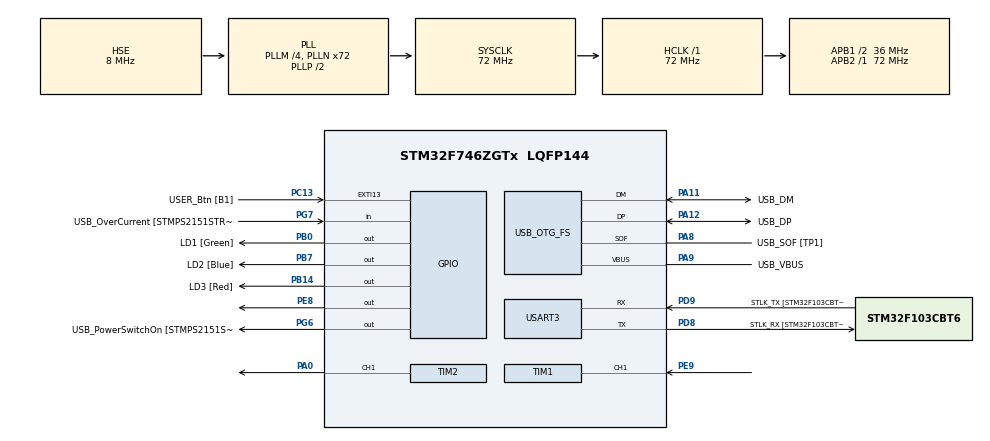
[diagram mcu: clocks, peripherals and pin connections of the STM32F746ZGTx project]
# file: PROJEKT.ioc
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Mcu.Family=STM32F7
Mcu.Name=STM32F746ZGTx
Mcu.Package=LQFP144
NVIC.PriorityGroup=NVIC_PRIORITYGROUP_4
NVIC.TIM1_CC_IRQn=true\:0\:0\:false\:false\:true\:true\:true\:true
PA0/WKUP.Signal=S_TIM2_CH1_ETR
PA1.GPIO_Label=RMII_REF_CLK [LAN8742A-CZ-TR_REFCLK0]
PA1.Signal=ETH_REF_CLK
PA10.GPIO_Label=USB_ID
PA10.Signal=USB_OTG_FS_ID
PA11.GPIO_Label=USB_DM
PA11.Mode=Device_Only
PA11.Signal=USB_OTG_FS_DM
PA12.GPIO_Label=USB_DP
PA12.Mode=Device_Only
PA12.Signal=USB_OTG_FS_DP
PA13.GPIO_Label=TMS
PA13.Mode=Serial_Wire
PA13.Signal=SYS_JTMS-SWDIO
PA14.GPIO_Label=TCK
PA14.Mode=Serial_Wire
PA14.Signal=SYS_JTCK-SWCLK
PA2.GPIO_Label=RMII_MDIO [LAN8742A-CZ-TR_MDIO]
PA2.Signal=ETH_MDIO
PA7.GPIO_Label=RMII_CRS_DV [LAN8742A-CZ-TR_CRS_DV]
PA7.Signal=ETH_CRS_DV
PA8.GPIO_Label=USB_SOF [TP1]
PA8.Mode=Activate_SOF_FS
PA8.Signal=USB_OTG_FS_SOF
PA9.GPIO_Label=USB_VBUS
PA9.Mode=Activate_VBUS
PA9.Signal=USB_OTG_FS_VBUS
PB0.GPIO_Label=LD1 [Green]
PB0.Signal=GPIO_Output
PB13.GPIO_Label=RMII_TXD1 [LAN8742A-CZ-TR_TXD1]
PB13.Signal=ETH_TXD1
PB14.GPIO_Label=LD3 [Red]
PB14.Signal=GPIO_Output
PB3.GPIO_Label=SW0
PB3.Signal=SYS_JTDO-SWO
PB7.GPIO_Label=LD2 [Blue]
PB7.Signal=GPIO_Output
PC1.GPIO_Label=RMII_MDC [LAN8742A-CZ-TR_MDC]
PC1.Signal=ETH_MDC
PC13.GPIO_Label=USER_Btn [B1]
PC13.Signal=GPXTI13
PC14/OSC32_IN.Mode=LSE-External-Oscillator
PC14/OSC32_IN.Signal=RCC_OSC32_IN
PC15/OSC32_OUT.Mode=LSE-External-Oscillator
PC15/OSC32_OUT.Signal=RCC_OSC32_OUT
PC4.GPIO_Label=RMII_RXD0 [LAN8742A-CZ-TR_RXD0]
PC4.Signal=ETH_RXD0
PC5.GPIO_Label=RMII_RXD1 [LAN8742A-CZ-TR_RXD1]
PC5.Signal=ETH_RXD1
PD8.GPIO_Label=STLK_RX [STM32F103CBT6_PA3]
PD8.GPIO_PuPd=GPIO_PULLUP
PD8.Mode=Asynchronous
PD8.Signal=USART3_TX
PD9.GPIO_Label=STLK_TX [STM32F103CBT6_PA2]
PD9.GPIO_PuPd=GPIO_PULLUP
PD9.Mode=Asynchronous
PD9.Signal=USART3_RX
PE8.Signal=GPIO_Output
PE9.Signal=S_TIM1_CH1
PG11.GPIO_Label=RMII_TX_EN [LAN8742A-CZ-TR_TXEN]
PG11.Signal=ETH_TX_EN
PG13.GPIO_Label=RMII_TXD0 [LAN8742A-CZ-TR_TXD0]
PG13.Signal=ETH_TXD0
PG6.GPIO_Label=USB_PowerSwitchOn [STMPS2151STR_EN]
PG6.Signal=GPIO_Output
PG7.GPIO_Label=USB_OverCurrent [STMPS2151STR_FAULT]
PG7.Signal=GPIO_Input
PH0/OSC_IN.GPIO_Label=MCO [STM32F103CBT6_PA8]
PH0/OSC_IN.Mode=HSE-External-Clock-Source
PH0/OSC_IN.Signal=RCC_OSC_IN
PH1/OSC_OUT.Mode=HSE-External-Clock-Source
PH1/OSC_OUT.Signal=RCC_OSC_OUT
ProjectManager.HeapSize=0x200
ProjectManager.StackSize=0x400
ProjectManager.TargetToolchain=STM32CubeIDE
RCC.48MHZClocksFreq_Value=24000000
RCC.AHBFreq_Value=72000000
RCC.APB1CLKDivider=RCC_HCLK_DIV2
RCC.APB1Freq_Value=36000000
RCC.APB1TimFreq_Value=72000000
RCC.APB2Freq_Value=72000000
RCC.APB2TimFreq_Value=72000000
RCC.CortexFreq_Value=72000000
RCC.HCLKFreq_Value=72000000
RCC.HSE_VALUE=8000000
RCC.HSI_VALUE=16000000
RCC.PLLM=4
RCC.PLLMUL=RCC_PLL_MUL9
RCC.PLLN=72
RCC.PLLQ=3
RCC.PRESCALERUSB=RCC_USBCLKSOURCE_PLL_DIV1_5
RCC.SYSCLKFreq_VALUE=72000000
RCC.SYSCLKSource=RCC_SYSCLKSOURCE_PLLCLK
RCC.SYSCLKSourceVirtual=RCC_SYSCLKSOURCE_PLLCLK
RCC.USBFreq_Value=48000000
RCC.VCOOutputFreq_Value=144000000
SH.S_TIM1_CH1.0=TIM1_CH1,Input_Capture1_from_TI1
SH.S_TIM2_CH1_ETR.0=TIM2_CH1,PWM Generation1 CH1
TIM1.Channel-Input_Capture1_from_TI1=TIM_CHANNEL_1
TIM1.Period=0xffff-1
TIM1.Prescaler=72-1
TIM2.AutoReloadPreload=TIM_AUTORELOAD_PRELOAD_ENABLE
TIM2.Channel-PWM\ Generation1\ CH1=TIM_CHANNEL_1
TIM2.Period=19999
TIM2.Prescaler=71
TIM2.Pulse-PWM\ Generation1\ CH1=1500
USART3.VirtualMode-Asynchronous=VM_ASYNC
USB_OTG_FS.VirtualMode=Device_Only
VP_TIM2_VS_ClockSourceINT.Mode=Internal
board=NUCLEO-F746ZG

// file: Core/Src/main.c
/* USER CODE BEGIN Header */
/**
  ******************************************************************************
  * @file           : main.c
  * @brief          : Main program body
  ******************************************************************************
  * @attention
  *
  * Copyright (c) 2023 STMicroelectronics.
  * All rights reserved.
  *
  * This software is licensed under terms that can be found in the LICENSE file
  * in the root directory of this software component.
  * If no LICENSE file comes with this software, it is provided AS-IS.
  *
  ******************************************************************************
  */
/* USER CODE END Header */
#include "main.h"

TIM_HandleTypeDef htim1;
TIM_HandleTypeDef htim2;

UART_HandleTypeDef huart3;

PCD_HandleTypeDef hpcd_USB_OTG_FS;

void SystemClock_Config(void);
static void MX_GPIO_Init(void);
static void MX_USART3_UART_Init(void);
static void MX_USB_OTG_FS_PCD_Init(void);
static void MX_TIM1_Init(void);
static void MX_TIM2_Init(void);

/* USER CODE BEGIN 0 */

void delay(uint16_t time) {
	__HAL_TIM_SET_COUNTER(&htim1,0);
	while(__HAL_TIM_GET_COUNTER (&htim1) < time);
}

uint32_t IC_Val1 = 0;
uint32_t IC_Val2 = 0;
uint32_t Difference = 0;
uint8_t Is_First_Captured = 0;  // is the first value captured ?
float Distance  = 0;
#define TRIG_PIN GPIO_PIN_8
#define TRIG_PORT GPIOE
float yr = 7.5;
float y = 0,Ki = 0,Kp = 0.7,Td = 1/1.67, u = 0, Tp=0.1;
float e[] = {0,0};
uint16_t PWM = 0;

// Let's write the callback function

void HAL_TIM_IC_CaptureCallback(TIM_HandleTypeDef *htim)
{
	if (htim->Channel == HAL_TIM_ACTIVE_CHANNEL_1)  // if the interrupt source is channel1
	{
		if (Is_First_Captured==0) // if the first value is not captured
		{
			IC_Val1 = HAL_TIM_ReadCapturedValue(htim, TIM_CHANNEL_1); // read the first value
			Is_First_Captured = 1;  // set the first captured as true
			// Now change the polarity to falling edge
			__HAL_TIM_SET_CAPTUREPOLARITY(htim, TIM_CHANNEL_1, TIM_INPUTCHANNELPOLARITY_FALLING);
		}

		else if (Is_First_Captured==1)   // if the first is already captured
		{
			IC_Val2 = HAL_TIM_ReadCapturedValue(htim, TIM_CHANNEL_1);  // read second value
			__HAL_TIM_SET_COUNTER(htim, 0);  // reset the counter

			if (IC_Val2 > IC_Val1)
			{
				Difference = IC_Val2-IC_Val1;
			}

			else if (IC_Val1 > IC_Val2)
			{
				Difference = (0xffff - IC_Val1) + IC_Val2;
			}

			Distance = Difference * .034/2;
			if(Distance > 20){
				Distance = 0;
			}
			Is_First_Captured = 0; // set it back to false

			// set polarity to rising edge
			__HAL_TIM_SET_CAPTUREPOLARITY(htim, TIM_CHANNEL_1, TIM_INPUTCHANNELPOLARITY_RISING);
			__HAL_TIM_DISABLE_IT(&htim1, TIM_IT_CC1);
		}
	}
}

void HCSR04_Read (void)
{
	HAL_GPIO_WritePin(TRIG_PORT, TRIG_PIN, GPIO_PIN_SET);  // pull the TRIG pin HIGH
	delay(10);  // wait for 10 us
	HAL_GPIO_WritePin(TRIG_PORT, TRIG_PIN, GPIO_PIN_RESET);  // pull the TRIG pin low

	__HAL_TIM_ENABLE_IT(&htim1, TIM_IT_CC1);
}

/* USER CODE END 0 */

int main(void)
{

  /* MCU Configuration--------------------------------------------------------*/

  /* Reset of all peripherals, Initializes the Flash interface and the Systick. */
  HAL_Init();

  /* Configure the system clock */
  SystemClock_Config();

  /* Initialize all configured peripherals */
  MX_GPIO_Init();
  MX_USART3_UART_Init();
  MX_USB_OTG_FS_PCD_Init();
  MX_TIM1_Init();
  MX_TIM2_Init();
  /* USER CODE BEGIN 2 */

  HAL_TIM_IC_Start_IT(&htim1, TIM_CHANNEL_1);
  HAL_TIM_PWM_Start(&htim2,TIM_CHANNEL_1);

  /* USER CODE END 2 */

  /* Infinite loop */
  while (1)
  {

    /* USER CODE BEGIN 3 */
	  HCSR04_Read();
	  y = Distance;
	  e[0] = yr - y;
	  u = Kp*e[0] + Td*(e[0]-e[1])/Tp + (2*ui+Ki*Tp*(e[0]+e[1]))/2;;
	  e[1] = e[0];
	  u += 90;
	  if ( u > 135) {
		  u = 135;
	  } else if(u < 45) {
		  u = 45;
	  }
	  PWM = -9*u+2500;
	  __HAL_TIM_SET_COMPARE(&htim2, TIM_CHANNEL_1,PWM);
	  HAL_Delay(10);
  }
  /* USER CODE END 3 */
}

void SystemClock_Config(void)
{
  RCC_OscInitTypeDef RCC_OscInitStruct = {0};
  RCC_ClkInitTypeDef RCC_ClkInitStruct = {0};

  /** Configure LSE Drive Capability
  */
  HAL_PWR_EnableBkUpAccess();

  /** Configure the main internal regulator output voltage
  */
  __HAL_RCC_PWR_CLK_ENABLE();
  __HAL_PWR_VOLTAGESCALING_CONFIG(PWR_REGULATOR_VOLTAGE_SCALE3);

  /** Initializes the RCC Oscillators according to the specified parameters
  * in the RCC_OscInitTypeDef structure.
  */
  RCC_OscInitStruct.OscillatorType = RCC_OSCILLATORTYPE_HSE;
  RCC_OscInitStruct.HSEState = RCC_HSE_BYPASS;
  RCC_OscInitStruct.PLL.PLLState = RCC_PLL_ON;
  RCC_OscInitStruct.PLL.PLLSource = RCC_PLLSOURCE_HSE;
  RCC_OscInitStruct.PLL.PLLM = 4;
  RCC_OscInitStruct.PLL.PLLN = 72;
  RCC_OscInitStruct.PLL.PLLP = RCC_PLLP_DIV2;
  RCC_OscInitStruct.PLL.PLLQ = 3;
  if (HAL_RCC_OscConfig(&RCC_OscInitStruct) != HAL_OK)
  {
    Error_Handler();
  }

  /** Initializes the CPU, AHB and APB buses clocks
  */
  RCC_ClkInitStruct.ClockType = RCC_CLOCKTYPE_HCLK|RCC_CLOCKTYPE_SYSCLK
                              |RCC_CLOCKTYPE_PCLK1|RCC_CLOCKTYPE_PCLK2;
  RCC_ClkInitStruct.SYSCLKSource = RCC_SYSCLKSOURCE_PLLCLK;
  RCC_ClkInitStruct.AHBCLKDivider = RCC_SYSCLK_DIV1;
  RCC_ClkInitStruct.APB1CLKDivider = RCC_HCLK_DIV2;
  RCC_ClkInitStruct.APB2CLKDivider = RCC_HCLK_DIV1;

  if (HAL_RCC_ClockConfig(&RCC_ClkInitStruct, FLASH_LATENCY_2) != HAL_OK)
  {
    Error_Handler();
  }
}

static void MX_TIM1_Init(void)
{

  TIM_MasterConfigTypeDef sMasterConfig = {0};
  TIM_IC_InitTypeDef sConfigIC = {0};

  htim1.Instance = TIM1;
  htim1.Init.Prescaler = 72-1;
  htim1.Init.CounterMode = TIM_COUNTERMODE_UP;
  htim1.Init.Period = 0xffff-1;
  htim1.Init.ClockDivision = TIM_CLOCKDIVISION_DIV1;
  htim1.Init.RepetitionCounter = 0;
  htim1.Init.AutoReloadPreload = TIM_AUTORELOAD_PRELOAD_DISABLE;
  if (HAL_TIM_IC_Init(&htim1) != HAL_OK)
  {
    Error_Handler();
  }
  sMasterConfig.MasterOutputTrigger = TIM_TRGO_RESET;
  sMasterConfig.MasterOutputTrigger2 = TIM_TRGO2_RESET;
  sMasterConfig.MasterSlaveMode = TIM_MASTERSLAVEMODE_DISABLE;
  if (HAL_TIMEx_MasterConfigSynchronization(&htim1, &sMasterConfig) != HAL_OK)
  {
    Error_Handler();
  }
  sConfigIC.ICPolarity = TIM_INPUTCHANNELPOLARITY_RISING;
  sConfigIC.ICSelection = TIM_ICSELECTION_DIRECTTI;
  sConfigIC.ICPrescaler = TIM_ICPSC_DIV1;
  sConfigIC.ICFilter = 0;
  if (HAL_TIM_IC_ConfigChannel(&htim1, &sConfigIC, TIM_CHANNEL_1) != HAL_OK)
  {
    Error_Handler();
  }

}

static void MX_TIM2_Init(void)
{

  TIM_ClockConfigTypeDef sClockSourceConfig = {0};
  TIM_MasterConfigTypeDef sMasterConfig = {0};
  TIM_OC_InitTypeDef sConfigOC = {0};

  htim2.Instance = TIM2;
  htim2.Init.Prescaler = 71;
  htim2.Init.CounterMode = TIM_COUNTERMODE_UP;
  htim2.Init.Period = 19999;
  htim2.Init.ClockDivision = TIM_CLOCKDIVISION_DIV1;
  htim2.Init.AutoReloadPreload = TIM_AUTORELOAD_PRELOAD_ENABLE;
  if (HAL_TIM_Base_Init(&htim2) != HAL_OK)
  {
    Error_Handler();
  }
  sClockSourceConfig.ClockSource = TIM_CLOCKSOURCE_INTERNAL;
  if (HAL_TIM_ConfigClockSource(&htim2, &sClockSourceConfig) != HAL_OK)
  {
    Error_Handler();
  }
  if (HAL_TIM_PWM_Init(&htim2) != HAL_OK)
  {
    Error_Handler();
  }
  sMasterConfig.MasterOutputTrigger = TIM_TRGO_RESET;
  sMasterConfig.MasterSlaveMode = TIM_MASTERSLAVEMODE_DISABLE;
  if (HAL_TIMEx_MasterConfigSynchronization(&htim2, &sMasterConfig) != HAL_OK)
  {
    Error_Handler();
  }
  sConfigOC.OCMode = TIM_OCMODE_PWM1;
  sConfigOC.Pulse = 1500;
  sConfigOC.OCPolarity = TIM_OCPOLARITY_HIGH;
  sConfigOC.OCFastMode = TIM_OCFAST_DISABLE;
  if (HAL_TIM_PWM_ConfigChannel(&htim2, &sConfigOC, TIM_CHANNEL_1) != HAL_OK)
  {
    Error_Handler();
  }
  HAL_TIM_MspPostInit(&htim2);

}

static void MX_USART3_UART_Init(void)
{

  huart3.Instance = USART3;
  huart3.Init.BaudRate = 115200;
  huart3.Init.WordLength = UART_WORDLENGTH_8B;
  huart3.Init.StopBits = UART_STOPBITS_1;
  huart3.Init.Parity = UART_PARITY_NONE;
  huart3.Init.Mode = UART_MODE_TX_RX;
  huart3.Init.HwFlowCtl = UART_HWCONTROL_NONE;
  huart3.Init.OverSampling = UART_OVERSAMPLING_16;
  huart3.Init.OneBitSampling = UART_ONE_BIT_SAMPLE_DISABLE;
  huart3.AdvancedInit.AdvFeatureInit = UART_ADVFEATURE_NO_INIT;
  if (HAL_UART_Init(&huart3) != HAL_OK)
  {
    Error_Handler();
  }

}

static void MX_USB_OTG_FS_PCD_Init(void)
{

  hpcd_USB_OTG_FS.Instance = USB_OTG_FS;
  hpcd_USB_OTG_FS.Init.dev_endpoints = 6;
  hpcd_USB_OTG_FS.Init.speed = PCD_SPEED_FULL;
  hpcd_USB_OTG_FS.Init.dma_enable = DISABLE;
  hpcd_USB_OTG_FS.Init.phy_itface = PCD_PHY_EMBEDDED;
  hpcd_USB_OTG_FS.Init.Sof_enable = ENABLE;
  hpcd_USB_OTG_FS.Init.low_power_enable = DISABLE;
  hpcd_USB_OTG_FS.Init.lpm_enable = DISABLE;
  hpcd_USB_OTG_FS.Init.vbus_sensing_enable = ENABLE;
  hpcd_USB_OTG_FS.Init.use_dedicated_ep1 = DISABLE;
  if (HAL_PCD_Init(&hpcd_USB_OTG_FS) != HAL_OK)
  {
    Error_Handler();
  }

}

static void MX_GPIO_Init(void)
{
  GPIO_InitTypeDef GPIO_InitStruct = {0};

  /* GPIO Ports Clock Enable */
  __HAL_RCC_GPIOC_CLK_ENABLE();
  __HAL_RCC_GPIOH_CLK_ENABLE();
  __HAL_RCC_GPIOA_CLK_ENABLE();
  __HAL_RCC_GPIOB_CLK_ENABLE();
  __HAL_RCC_GPIOE_CLK_ENABLE();
  __HAL_RCC_GPIOD_CLK_ENABLE();
  __HAL_RCC_GPIOG_CLK_ENABLE();

  /*Configure GPIO pin Output Level */
  HAL_GPIO_WritePin(GPIOB, LD1_Pin|LD3_Pin|LD2_Pin, GPIO_PIN_RESET);

  /*Configure GPIO pin Output Level */
  HAL_GPIO_WritePin(GPIOE, GPIO_PIN_8, GPIO_PIN_RESET);

  /*Configure GPIO pin Output Level */
  HAL_GPIO_WritePin(USB_PowerSwitchOn_GPIO_Port, USB_PowerSwitchOn_Pin, GPIO_PIN_RESET);

  /*Configure GPIO pin : USER_Btn_Pin */
  GPIO_InitStruct.Pin = USER_Btn_Pin;
  GPIO_InitStruct.Mode = GPIO_MODE_IT_RISING;
  GPIO_InitStruct.Pull = GPIO_NOPULL;
  HAL_GPIO_Init(USER_Btn_GPIO_Port, &GPIO_InitStruct);

  /*Configure GPIO pins : RMII_MDC_Pin RMII_RXD0_Pin RMII_RXD1_Pin */
  GPIO_InitStruct.Pin = RMII_MDC_Pin|RMII_RXD0_Pin|RMII_RXD1_Pin;
  GPIO_InitStruct.Mode = GPIO_MODE_AF_PP;
  GPIO_InitStruct.Pull = GPIO_NOPULL;
  GPIO_InitStruct.Speed = GPIO_SPEED_FREQ_VERY_HIGH;
  GPIO_InitStruct.Alternate = GPIO_AF11_ETH;
  HAL_GPIO_Init(GPIOC, &GPIO_InitStruct);

  /*Configure GPIO pins : RMII_REF_CLK_Pin RMII_MDIO_Pin RMII_CRS_DV_Pin */
  GPIO_InitStruct.Pin = RMII_REF_CLK_Pin|RMII_MDIO_Pin|RMII_CRS_DV_Pin;
  GPIO_InitStruct.Mode = GPIO_MODE_AF_PP;
  GPIO_InitStruct.Pull = GPIO_NOPULL;
  GPIO_InitStruct.Speed = GPIO_SPEED_FREQ_VERY_HIGH;
  GPIO_InitStruct.Alternate = GPIO_AF11_ETH;
  HAL_GPIO_Init(GPIOA, &GPIO_InitStruct);

  /*Configure GPIO pins : LD1_Pin LD3_Pin LD2_Pin */
  GPIO_InitStruct.Pin = LD1_Pin|LD3_Pin|LD2_Pin;
  GPIO_InitStruct.Mode = GPIO_MODE_OUTPUT_PP;
  GPIO_InitStruct.Pull = GPIO_NOPULL;
  GPIO_InitStruct.Speed = GPIO_SPEED_FREQ_LOW;
  HAL_GPIO_Init(GPIOB, &GPIO_InitStruct);

  /*Configure GPIO pin : PE8 */
  GPIO_InitStruct.Pin = GPIO_PIN_8;
  GPIO_InitStruct.Mode = GPIO_MODE_OUTPUT_PP;
  GPIO_InitStruct.Pull = GPIO_NOPULL;
  GPIO_InitStruct.Speed = GPIO_SPEED_FREQ_LOW;
  HAL_GPIO_Init(GPIOE, &GPIO_InitStruct);

  /*Configure GPIO pin : RMII_TXD1_Pin */
  GPIO_InitStruct.Pin = RMII_TXD1_Pin;
  GPIO_InitStruct.Mode = GPIO_MODE_AF_PP;
  GPIO_InitStruct.Pull = GPIO_NOPULL;
  GPIO_InitStruct.Speed = GPIO_SPEED_FREQ_VERY_HIGH;
  GPIO_InitStruct.Alternate = GPIO_AF11_ETH;
  HAL_GPIO_Init(RMII_TXD1_GPIO_Port, &GPIO_InitStruct);

  /*Configure GPIO pin : USB_PowerSwitchOn_Pin */
  GPIO_InitStruct.Pin = USB_PowerSwitchOn_Pin;
  GPIO_InitStruct.Mode = GPIO_MODE_OUTPUT_PP;
  GPIO_InitStruct.Pull = GPIO_NOPULL;
  GPIO_InitStruct.Speed = GPIO_SPEED_FREQ_LOW;
  HAL_GPIO_Init(USB_PowerSwitchOn_GPIO_Port, &GPIO_InitStruct);

  /*Configure GPIO pin : USB_OverCurrent_Pin */
  GPIO_InitStruct.Pin = USB_OverCurrent_Pin;
  GPIO_InitStruct.Mode = GPIO_MODE_INPUT;
  GPIO_InitStruct.Pull = GPIO_NOPULL;
  HAL_GPIO_Init(USB_OverCurrent_GPIO_Port, &GPIO_InitStruct);

  /*Configure GPIO pins : RMII_TX_EN_Pin RMII_TXD0_Pin */
  GPIO_InitStruct.Pin = RMII_TX_EN_Pin|RMII_TXD0_Pin;
  GPIO_InitStruct.Mode = GPIO_MODE_AF_PP;
  GPIO_InitStruct.Pull = GPIO_NOPULL;
  GPIO_InitStruct.Speed = GPIO_SPEED_FREQ_VERY_HIGH;
  GPIO_InitStruct.Alternate = GPIO_AF11_ETH;
  HAL_GPIO_Init(GPIOG, &GPIO_InitStruct);

}

void Error_Handler(void)
{
  __disable_irq();
  while (1)
  {
  }
}
